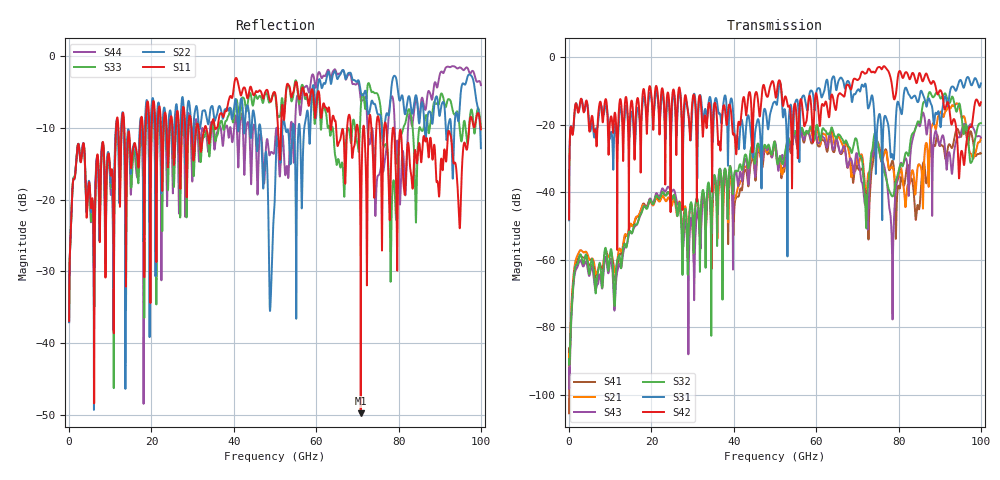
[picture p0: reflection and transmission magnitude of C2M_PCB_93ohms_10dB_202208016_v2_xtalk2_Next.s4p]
! Info: Touchstone file created by Circ.  Input file=Intel_C2M_200G_1p5in_202208016_staggered.circ
# Hz S RI R 50
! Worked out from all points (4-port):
!   10000 points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, 10 MHz to 100 GHz, reference 50 ohm
!   strongest paths, dB at 10 MHz, 25.01 GHz, 50.01 GHz, 75.01 GHz, 100 GHz:
!     S42: -48.1, -12.4, -10.7, -3.0, -13.4
!     S31: -48.4, -15.0, -13.2, -18.7, -7.8
!     S32: -89.4, -42.2, -25.4, -25.8, -19.6
!     S43: -97.8, -39.7, -25.0, -25.9, -23.9
!     S21: -90.1, -43.9, -25.7, -25.3, -24.0
!     S41: -105.5, -41.5, -25.7, -26.2, -28.5
!   lowest |S11| = -49.8 dB at 70.82 GHz (marker M1), VSWR 1.01, Z = 50.3 - j0.0583 ohm
!   |S11| at or under -10 dB: start of sweep to 11.42 GHz; 13.41 GHz to 17.29 GHz (3.885 GHz wide, 25.3 % of centre); 78.77 GHz to 97.13 GHz (18.36 GHz wide, 20.9 % of centre)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
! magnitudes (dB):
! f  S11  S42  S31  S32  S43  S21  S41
! 10 MHz  -36.9  -48.1  -48.4  -89.4  -97.8  -90.1  -105.5
! 22.72 GHz  -16.1  -9.5  -10.9  -40.0  -38.9  -41.1  -40.0
! 48.98 GHz  -6.4  -8.1  -16.1  -28.5  -28.7  -28.9  -28.9
! 70.82 GHz  -49.8  -5.2  -9.4  -29.3  -35.7  -29.1  -33.3
! 78.48 GHz  -10.8  -9.0  -28.8  -41.3  -63.1  -32.5  -30.7
! 85.87 GHz  -12.1  -7.2  -10.9  -14.2  -16.4  -42.5  -32.1
! 100 GHz  -10.2  -13.4  -7.8  -19.6  -23.9  -24.0  -28.5
